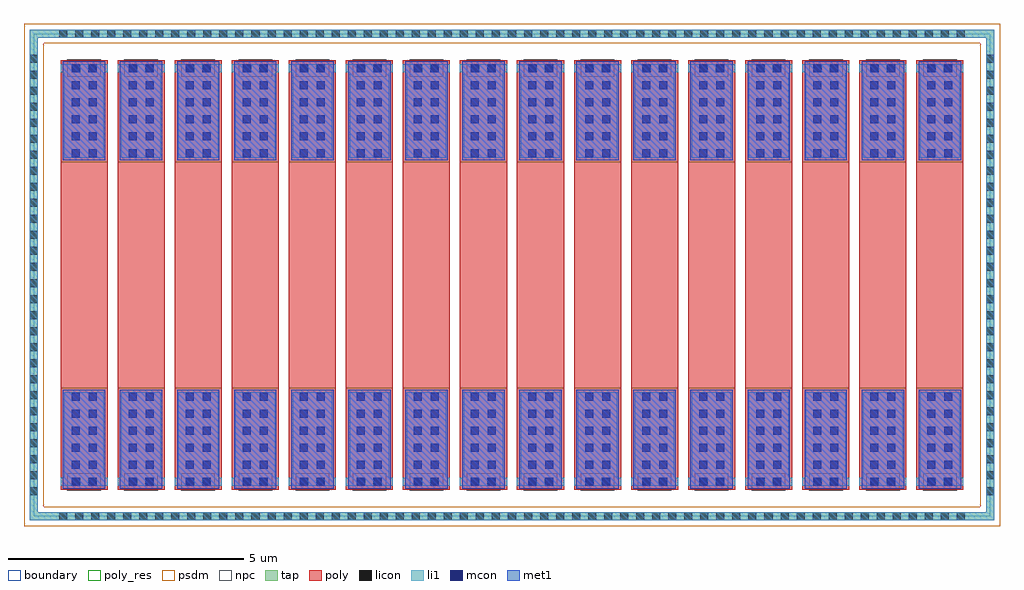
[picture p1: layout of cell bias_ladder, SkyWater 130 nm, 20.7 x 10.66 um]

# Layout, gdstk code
import gdstk
lib = gdstk.Library(unit=1e-6, precision=1e-09)
def R(c, l, rs):  # rectangles x0, y0, x1, y1
    for r in rs: c.add(gdstk.rectangle(r[:2], r[2:], *l))
def A(c, l, x, y, w, h, nx, ny, dx, dy):  # array of equal rectangles
    R(c, l, [(x+i*dx, y+j*dy, x+i*dx+w, y+j*dy+h) for i in range(nx) for j in range(ny)])
tap = (65, 44)
poly_res = (66, 13)
poly = (66, 20)
licon = (66, 44)
li1 = (67, 20)
mcon = (67, 44)
met1 = (68, 20)
psdm = (94, 20)
npc = (95, 20)
boundary = (235, 4)

bias_ladder = lib.new_cell('bias_ladder')
R(bias_ladder, tap, [(-10.225,-5.205,10.225,-5.035), (-10.225,-5.035,-10.055,5.035), (10.055,-5.035,10.225,5.035), (-10.225,5.035,10.225,5.205)])
A(bias_ladder, poly_res, -9.575, -2.405, 1, 4.81, 16, 1, 1.21, 0)
A(bias_ladder, poly, -9.575, -4.555, 1, 9.11, 16, 1, 1.21, 0)
A(bias_ladder, licon, -9.605, -5.205, 0.17, 0.17, 57, 2, 0.34, 10.24)
A(bias_ladder, licon, -10.225, -4.675, 0.17, 0.17, 1, 28, 0, 0.34)
A(bias_ladder, licon, 10.055, -4.675, 0.17, 0.17, 1, 28, 0, 0.34)
R(bias_ladder, licon, [(-9.33,-4.475,-9.16,-4.305), (-8.99,-4.475,-8.82,-4.305), (-8.12,-4.475,-7.95,-4.305), (-7.78,-4.475,-7.61,-4.305), (-6.91,-4.475,-6.74,-4.305), (-6.57,-4.475,-6.4,-4.305), (-5.7,-4.475,-5.53,-4.305), (-5.36,-4.475,-5.19,-4.305), (-4.49,-4.475,-4.32,-4.305), (-4.15,-4.475,-3.98,-4.305), (-3.28,-4.475,-3.11,-4.305), (-2.94,-4.475,-2.77,-4.305), (-2.07,-4.475,-1.9,-4.305), (-1.73,-4.475,-1.56,-4.305), (-0.86,-4.475,-0.69,-4.305), (-0.52,-4.475,-0.35,-4.305), (0.35,-4.475,0.52,-4.305), (0.69,-4.475,0.86,-4.305), (1.56,-4.475,1.73,-4.305), (1.9,-4.475,2.07,-4.305), (2.77,-4.475,2.94,-4.305), (3.11,-4.475,3.28,-4.305), (3.98,-4.475,4.15,-4.305), (4.32,-4.475,4.49,-4.305), (5.19,-4.475,5.36,-4.305), (5.53,-4.475,5.7,-4.305), (6.4,-4.475,6.57,-4.305), (6.74,-4.475,6.91,-4.305), (7.61,-4.475,7.78,-4.305), (7.95,-4.475,8.12,-4.305), (8.82,-4.475,8.99,-4.305), (9.16,-4.475,9.33,-4.305), (-9.33,4.305,-9.16,4.475), (-8.99,4.305,-8.82,4.475), (-8.12,4.305,-7.95,4.475), (-7.78,4.305,-7.61,4.475), (-6.91,4.305,-6.74,4.475), (-6.57,4.305,-6.4,4.475), (-5.7,4.305,-5.53,4.475), (-5.36,4.305,-5.19,4.475), (-4.49,4.305,-4.32,4.475), (-4.15,4.305,-3.98,4.475), (-3.28,4.305,-3.11,4.475), (-2.94,4.305,-2.77,4.475), (-2.07,4.305,-1.9,4.475), (-1.73,4.305,-1.56,4.475), (-0.86,4.305,-0.69,4.475), (-0.52,4.305,-0.35,4.475), (0.35,4.305,0.52,4.475), (0.69,4.305,0.86,4.475), (1.56,4.305,1.73,4.475), (1.9,4.305,2.07,4.475), (2.77,4.305,2.94,4.475), (3.11,4.305,3.28,4.475), (3.98,4.305,4.15,4.475), (4.32,4.305,4.49,4.475), (5.19,4.305,5.36,4.475), (5.53,4.305,5.7,4.475), (6.4,4.305,6.57,4.475), (6.74,4.305,6.91,4.475), (7.61,4.305,7.78,4.475), (7.95,4.305,8.12,4.475), (8.82,4.305,8.99,4.475), (9.16,4.305,9.33,4.475)])
A(bias_ladder, li1, -9.575, -4.475, 1, 0.17, 16, 2, 1.21, 8.78)
A(bias_ladder, li1, -9.495, -4.305, 0.84, 1.815, 16, 2, 1.21, 6.795)
R(bias_ladder, li1, [(-10.225,-5.205,10.225,-5.035), (-10.225,-5.035,-10.055,5.035), (10.055,-5.035,10.225,5.035), (-10.225,5.035,10.225,5.205)])
A(bias_ladder, mcon, -9.34, -4.47, 0.17, 0.17, 1, 6, 0, 0.36)
A(bias_ladder, mcon, -8.98, -4.47, 0.17, 0.17, 1, 6, 0, 0.36)
A(bias_ladder, mcon, -8.13, -4.47, 0.17, 0.17, 1, 6, 0, 0.36)
A(bias_ladder, mcon, -7.77, -4.47, 0.17, 0.17, 1, 6, 0, 0.36)
A(bias_ladder, mcon, -6.92, -4.47, 0.17, 0.17, 1, 6, 0, 0.36)
A(bias_ladder, mcon, -6.56, -4.47, 0.17, 0.17, 1, 6, 0, 0.36)
A(bias_ladder, mcon, -5.71, -4.47, 0.17, 0.17, 1, 6, 0, 0.36)
A(bias_ladder, mcon, -5.35, -4.47, 0.17, 0.17, 1, 6, 0, 0.36)
A(bias_ladder, mcon, -4.5, -4.47, 0.17, 0.17, 1, 6, 0, 0.36)
A(bias_ladder, mcon, -4.14, -4.47, 0.17, 0.17, 1, 6, 0, 0.36)
A(bias_ladder, mcon, -3.29, -4.47, 0.17, 0.17, 1, 6, 0, 0.36)
A(bias_ladder, mcon, -2.93, -4.47, 0.17, 0.17, 1, 6, 0, 0.36)
A(bias_ladder, mcon, -2.08, -4.47, 0.17, 0.17, 1, 6, 0, 0.36)
A(bias_ladder, mcon, -1.72, -4.47, 0.17, 0.17, 1, 6, 0, 0.36)
A(bias_ladder, mcon, -0.87, -4.47, 0.17, 0.17, 1, 6, 0, 0.36)
A(bias_ladder, mcon, -0.51, -4.47, 0.17, 0.17, 1, 6, 0, 0.36)
A(bias_ladder, mcon, 0.34, -4.47, 0.17, 0.17, 1, 6, 0, 0.36)
A(bias_ladder, mcon, 0.7, -4.47, 0.17, 0.17, 1, 6, 0, 0.36)
A(bias_ladder, mcon, 1.55, -4.47, 0.17, 0.17, 1, 6, 0, 0.36)
A(bias_ladder, mcon, 1.91, -4.47, 0.17, 0.17, 1, 6, 0, 0.36)
A(bias_ladder, mcon, 2.76, -4.47, 0.17, 0.17, 1, 6, 0, 0.36)
A(bias_ladder, mcon, 3.12, -4.47, 0.17, 0.17, 1, 6, 0, 0.36)
A(bias_ladder, mcon, 3.97, -4.47, 0.17, 0.17, 1, 6, 0, 0.36)
A(bias_ladder, mcon, 4.33, -4.47, 0.17, 0.17, 1, 6, 0, 0.36)
A(bias_ladder, mcon, 5.18, -4.47, 0.17, 0.17, 1, 6, 0, 0.36)
A(bias_ladder, mcon, 5.54, -4.47, 0.17, 0.17, 1, 6, 0, 0.36)
A(bias_ladder, mcon, 6.39, -4.47, 0.17, 0.17, 1, 6, 0, 0.36)
A(bias_ladder, mcon, 6.75, -4.47, 0.17, 0.17, 1, 6, 0, 0.36)
A(bias_ladder, mcon, 7.6, -4.47, 0.17, 0.17, 1, 6, 0, 0.36)
A(bias_ladder, mcon, 7.96, -4.47, 0.17, 0.17, 1, 6, 0, 0.36)
A(bias_ladder, mcon, 8.81, -4.47, 0.17, 0.17, 1, 6, 0, 0.36)
A(bias_ladder, mcon, 9.17, -4.47, 0.17, 0.17, 1, 6, 0, 0.36)
A(bias_ladder, mcon, -9.34, 2.495, 0.17, 0.17, 1, 6, 0, 0.36)
A(bias_ladder, mcon, -8.98, 2.495, 0.17, 0.17, 1, 6, 0, 0.36)
A(bias_ladder, mcon, -8.13, 2.495, 0.17, 0.17, 1, 6, 0, 0.36)
A(bias_ladder, mcon, -7.77, 2.495, 0.17, 0.17, 1, 6, 0, 0.36)
A(bias_ladder, mcon, -6.92, 2.495, 0.17, 0.17, 1, 6, 0, 0.36)
A(bias_ladder, mcon, -6.56, 2.495, 0.17, 0.17, 1, 6, 0, 0.36)
A(bias_ladder, mcon, -5.71, 2.495, 0.17, 0.17, 1, 6, 0, 0.36)
A(bias_ladder, mcon, -5.35, 2.495, 0.17, 0.17, 1, 6, 0, 0.36)
A(bias_ladder, mcon, -4.5, 2.495, 0.17, 0.17, 1, 6, 0, 0.36)
A(bias_ladder, mcon, -4.14, 2.495, 0.17, 0.17, 1, 6, 0, 0.36)
A(bias_ladder, mcon, -3.29, 2.495, 0.17, 0.17, 1, 6, 0, 0.36)
A(bias_ladder, mcon, -2.93, 2.495, 0.17, 0.17, 1, 6, 0, 0.36)
A(bias_ladder, mcon, -2.08, 2.495, 0.17, 0.17, 1, 6, 0, 0.36)
A(bias_ladder, mcon, -1.72, 2.495, 0.17, 0.17, 1, 6, 0, 0.36)
A(bias_ladder, mcon, -0.87, 2.495, 0.17, 0.17, 1, 6, 0, 0.36)
A(bias_ladder, mcon, -0.51, 2.495, 0.17, 0.17, 1, 6, 0, 0.36)
A(bias_ladder, mcon, 0.34, 2.495, 0.17, 0.17, 1, 6, 0, 0.36)
A(bias_ladder, mcon, 0.7, 2.495, 0.17, 0.17, 1, 6, 0, 0.36)
A(bias_ladder, mcon, 1.55, 2.495, 0.17, 0.17, 1, 6, 0, 0.36)
A(bias_ladder, mcon, 1.91, 2.495, 0.17, 0.17, 1, 6, 0, 0.36)
A(bias_ladder, mcon, 2.76, 2.495, 0.17, 0.17, 1, 6, 0, 0.36)
A(bias_ladder, mcon, 3.12, 2.495, 0.17, 0.17, 1, 6, 0, 0.36)
A(bias_ladder, mcon, 3.97, 2.495, 0.17, 0.17, 1, 6, 0, 0.36)
A(bias_ladder, mcon, 4.33, 2.495, 0.17, 0.17, 1, 6, 0, 0.36)
A(bias_ladder, mcon, 5.18, 2.495, 0.17, 0.17, 1, 6, 0, 0.36)
A(bias_ladder, mcon, 5.54, 2.495, 0.17, 0.17, 1, 6, 0, 0.36)
A(bias_ladder, mcon, 6.39, 2.495, 0.17, 0.17, 1, 6, 0, 0.36)
A(bias_ladder, mcon, 6.75, 2.495, 0.17, 0.17, 1, 6, 0, 0.36)
A(bias_ladder, mcon, 7.6, 2.495, 0.17, 0.17, 1, 6, 0, 0.36)
A(bias_ladder, mcon, 7.96, 2.495, 0.17, 0.17, 1, 6, 0, 0.36)
A(bias_ladder, mcon, 8.81, 2.495, 0.17, 0.17, 1, 6, 0, 0.36)
A(bias_ladder, mcon, 9.17, 2.495, 0.17, 0.17, 1, 6, 0, 0.36)
A(bias_ladder, met1, -9.525, -4.535, 0.9, 2.105, 16, 2, 1.21, 6.965)
R(bias_ladder, psdm, [(-10.35,-5.33,10.35,-4.91), (-10.35,-4.91,-9.93,4.91), (9.93,-4.91,10.35,4.91), (-10.35,4.91,10.35,5.33)])
A(bias_ladder, npc, -9.43, -4.575, 0.71, 0.37, 16, 2, 1.21, 8.78)
R(bias_ladder, boundary, [(-10.14,-5.12,10.14,5.12)])

lib.write_gds('bias_ladder.gds')
